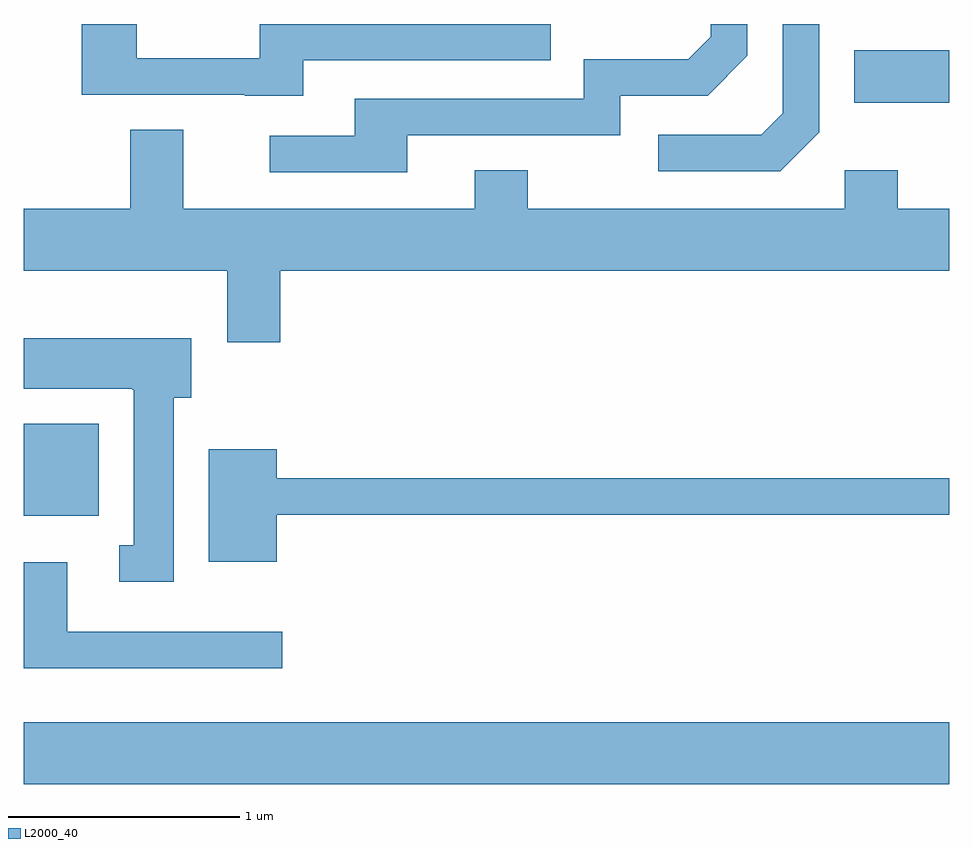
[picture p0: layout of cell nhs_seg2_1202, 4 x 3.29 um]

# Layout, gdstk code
import gdstk
lib = gdstk.Library(unit=1e-6, precision=1e-09)
def R(c, l, rs):  # rectangles x0, y0, x1, y1
    for r in rs: c.add(gdstk.rectangle(r[:2], r[2:], *l))
def P(c, l, *ps):  # polygons
    for p in ps: c.add(gdstk.Polygon(p, *l))
L2000_40 = (2000, 40)

nhs_seg2_1202 = lib.new_cell('nhs_seg2_1202')
R(nhs_seg2_1202, L2000_40, [(219.611,1070.516,223.611,1070.784), (219.611,1071.676,219.934,1072.074), (223.201,1073.461,223.611,1073.689)])
P(nhs_seg2_1202, L2000_40, [(220.819,1073.646),(221.888,1073.646),(221.888,1073.802),(220.631,1073.802),(220.631,1073.654),(220.099,1073.654),(220.099,1073.802),(219.861,1073.802),(219.861,1073.496),(220.565,1073.496),(220.565,1073.491),(220.819,1073.491)],
  [(221.269,1073.321),(222.189,1073.321),(222.189,1073.491),(222.567,1073.491),(222.739,1073.664),(222.739,1073.802),(222.581,1073.802),(222.581,1073.747),(222.484,1073.649),(222.031,1073.649),(222.031,1073.479),(221.041,1073.479),(221.041,1073.319),(220.673,1073.319),(220.673,1073.161),(221.269,1073.161)],
  [(223.049,1073.334),(223.049,1073.802),(222.891,1073.802),(222.891,1073.417),(222.799,1073.324),(222.353,1073.324),(222.353,1073.166),(222.882,1073.166)],
  [(220.719,1072.736),(223.611,1072.736),(223.611,1073.004),(223.389,1073.004),(223.389,1073.169),(223.161,1073.169),(223.161,1073.004),(221.789,1073.004),(221.789,1073.169),(221.561,1073.169),(221.561,1073.004),(220.299,1073.004),(220.299,1073.344),(220.071,1073.344),(220.071,1073.004),(219.611,1073.004),(219.611,1072.736),(220.491,1072.736),(220.491,1072.426),(220.719,1072.426)],
  [(220.259,1072.186),(220.334,1072.186),(220.334,1072.444),(219.611,1072.444),(219.611,1072.226),(220.08,1072.226),(220.08,1072.22),(220.086,1072.22),(220.086,1071.549),(220.023,1071.549),(220.023,1071.391),(220.259,1071.391)],
  [(220.704,1071.681),(223.611,1071.681),(223.611,1071.839),(220.704,1071.839),(220.704,1071.964),(220.411,1071.964),(220.411,1071.476),(220.704,1071.476)],
  [(220.728,1071.174),(219.799,1071.174),(219.799,1071.474),(219.611,1071.474),(219.611,1071.016),(220.728,1071.016)])

lib.write_gds('nhs_seg2_1202.gds')
